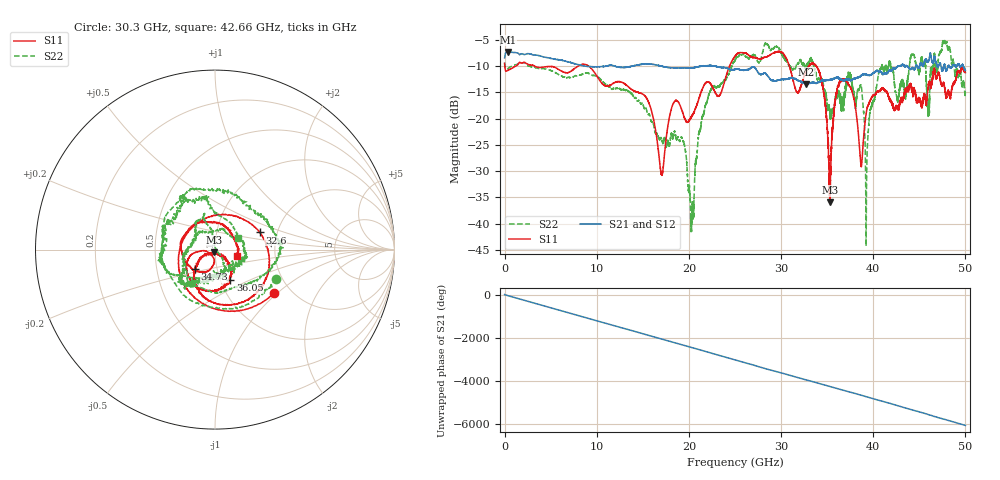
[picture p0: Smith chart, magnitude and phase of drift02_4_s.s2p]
!Created with skrf (http://scikit-rf.org).
# Hz S RI R 50.0
!freq ReS11 ImS11 ReS21 ImS21 ReS12 ImS12 ReS22 ImS22
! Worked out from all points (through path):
!   10001 points, 300 kHz to 50 GHz, reference 50 ohm
!   highest |S21| = -7.32 dB at 360.3 MHz (marker M1); lowest = -13.5 dB at 32.73 GHz (marker M2)
!   group delay of S21, straight-line fit = 335 ps
!   lowest |S11| = -35.9 dB at 35.28 GHz (marker M3), VSWR 1.03, Z = 49.5 - j1.5 ohm
!   |S11| at or under -10 dB: 3.241 GHz to 8.01 GHz (4.769 GHz wide, 84.8 % of centre); 9.104 GHz to 24.41 GHz (15.31 GHz wide, 91.4 % of centre); 33.83 GHz to end of sweep (the widest 3 of 9)
!   |S22| runs from -44.3 to -5.1 dB; largest |S21 - S12| = 0.014
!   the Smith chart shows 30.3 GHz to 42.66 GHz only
!   S11 on the Smith chart (normalised r, x): 30.3 GHz: 1.63, -0.95; 32.6 GHz: 1.62, +0.33; 34.73 GHz: 0.78, -0.18; 36.05 GHz: 1.11, -0.39; 42.66 GHz: 1.27, -0.09
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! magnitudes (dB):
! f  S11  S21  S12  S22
! 300 kHz  -9.5  -8.5  -8.4  -9.4
! 360.3 MHz  -10.8  -7.3  -7.3  -10.5
! 8.335 GHz  -9.8  -9.9  -9.9  -11.6
! 15.22 GHz  -15.7  -9.6  -9.6  -18.1
! 16.67 GHz  -25.9  -9.9  -9.9  -23.4
! 19.34 GHz  -18.9  -10.4  -10.4  -24.1
! 20.33 GHz  -19.4  -10.4  -10.4  -36.8
! 21.94 GHz  -13.1  -10.0  -10.0  -16.9
! 25 GHz  -8.2  -10.7  -10.7  -8.9
! 30.3 GHz  -7.8  -12.5  -12.7  -8.4
! 32.6 GHz  -11.5  -13.3  -13.4  -10.4
! 32.73 GHz  -10.9  -13.5  -13.5  -10.3
! 33.34 GHz  -9.5  -13.2  -13.2  -9.0
! 34.73 GHz  -16.2  -12.7  -12.7  -14.7
! 35.28 GHz  -35.9  -12.6  -12.6  -18.8
! 36.05 GHz  -14.4  -12.2  -12.1  -15.6
! 38.59 GHz  -27.3  -12.0  -12.0  -13.8
! 39.3 GHz  -18.4  -11.6  -11.7  -29.4
! 41.67 GHz  -15.8  -11.0  -11.1  -10.0
! 42.66 GHz  -18.0  -10.1  -10.0  -16.8
! 47.75 GHz  -14.1  -9.6  -9.7  -5.5
! 50 GHz  -11.3  -10.9  -10.9  -15.3
